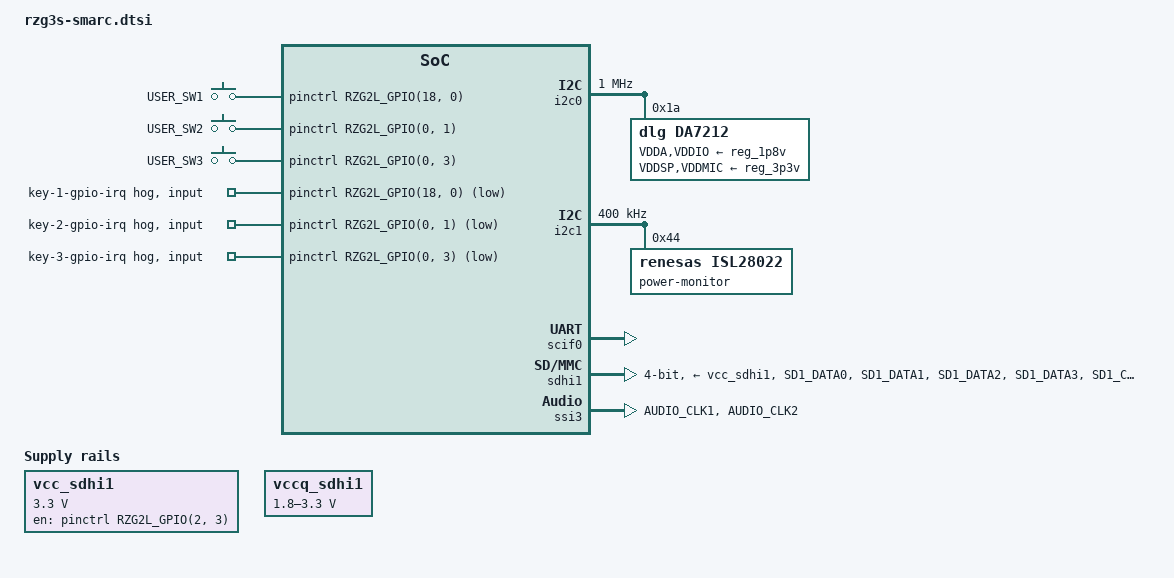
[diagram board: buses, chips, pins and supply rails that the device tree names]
// SPDX-License-Identifier: (GPL-2.0-only OR BSD-2-Clause)
/*
 * Device Tree Source for the RZ SMARC Carrier-II Board.
 *
 * Copyright (C) 2023 Renesas Electronics Corp.
 */

#include <dt-bindings/gpio/gpio.h>
#include <dt-bindings/input/input.h>
#include <dt-bindings/pinctrl/rzg2l-pinctrl.h>

/ {
	aliases {
		i2c0 = &i2c0;
		serial3 = &scif0;
		mmc1 = &sdhi1;
	};

	chosen {
		bootargs = "ignore_loglevel";
		stdout-path = "serial3:115200n8";
	};

	keys {
		compatible = "gpio-keys";

		key-1 {
			interrupts-extended = <&pinctrl RZG2L_GPIO(18, 0) IRQ_TYPE_EDGE_FALLING>;
			linux,code = <KEY_1>;
			label = "USER_SW1";
			wakeup-source;
			debounce-interval = <20>;
		};

		key-2 {
			interrupts-extended = <&pinctrl RZG2L_GPIO(0, 1) IRQ_TYPE_EDGE_FALLING>;
			linux,code = <KEY_2>;
			label = "USER_SW2";
			wakeup-source;
			debounce-interval = <20>;
		};

		key-3 {
			interrupts-extended = <&pinctrl RZG2L_GPIO(0, 3) IRQ_TYPE_EDGE_FALLING>;
			linux,code = <KEY_3>;
			label = "USER_SW3";
			wakeup-source;
			debounce-interval = <20>;
		};
	};

	snd_rzg3s: sound {
		compatible = "simple-audio-card";
		simple-audio-card,format = "i2s";
		simple-audio-card,bitclock-master = <&cpu_dai>;
		simple-audio-card,frame-master = <&cpu_dai>;
		simple-audio-card,mclk-fs = <256>;

		cpu_dai: simple-audio-card,cpu {
			sound-dai = <&ssi3>;
		};

		codec_dai: simple-audio-card,codec {
			sound-dai = <&da7212>;
			clocks = <&versa3 1>;
		};
	};

	vcc_sdhi1: regulator-vcc-sdhi1 {
		compatible = "regulator-fixed";
		regulator-name = "SDHI1 Vcc";
		regulator-min-microvolt = <3300000>;
		regulator-max-microvolt = <3300000>;
		gpios = <&pinctrl RZG2L_GPIO(2, 3) GPIO_ACTIVE_HIGH>;
		enable-active-high;
	};

	vccq_sdhi1: regulator-vccq-sdhi1 {
		compatible = "regulator-gpio";
		regulator-name = "SDHI1 VccQ";
		regulator-min-microvolt = <1800000>;
		regulator-max-microvolt = <3300000>;
		gpios = <&pinctrl RZG2L_GPIO(4, 2) GPIO_ACTIVE_HIGH>;
		gpios-states = <1>;
		states = <3300000 1>, <1800000 0>;
	};
};

&audio_clk2 {
	clock-frequency = <12288000>;
};

&i2c0 {
	status = "okay";

	clock-frequency = <1000000>;

	da7212: codec@1a {
		compatible = "dlg,da7212";
		reg = <0x1a>;

		clocks = <&versa3 1>;
		clock-names = "mclk";

		#sound-dai-cells = <0>;

		dlg,micbias1-lvl = <2500>;
		dlg,micbias2-lvl = <2500>;
		dlg,dmic-data-sel = "lrise_rfall";
		dlg,dmic-samplephase = "between_clkedge";
		dlg,dmic-clkrate = <3000000>;

		VDDA-supply = <&reg_1p8v>;
		VDDSP-supply = <&reg_3p3v>;
		VDDMIC-supply = <&reg_3p3v>;
		VDDIO-supply = <&reg_1p8v>;
	};
};

&i2c1 {
	status = "okay";

	clock-frequency = <400000>;

	power-monitor@44 {
		compatible = "renesas,isl28022";
		reg = <0x44>;
		shunt-resistor-micro-ohms = <8000>;
		renesas,average-samples = <32>;
	};
};

&pinctrl {
	audio_clock_pins: audio-clock {
		pins = "AUDIO_CLK1", "AUDIO_CLK2";
		input-enable;
	};

	key-1-gpio-hog {
		gpio-hog;
		gpios = <RZG2L_GPIO(18, 0) GPIO_ACTIVE_LOW>;
		input;
		line-name = "key-1-gpio-irq";
	};

	key-2-gpio-hog {
		gpio-hog;
		gpios = <RZG2L_GPIO(0, 1) GPIO_ACTIVE_LOW>;
		input;
		line-name = "key-2-gpio-irq";
	};

	key-3-gpio-hog {
		gpio-hog;
		gpios = <RZG2L_GPIO(0, 3) GPIO_ACTIVE_LOW>;
		input;
		line-name = "key-3-gpio-irq";
	};

	scif0_pins: scif0 {
		pinmux = <RZG2L_PORT_PINMUX(6, 3, 1)>, /* RXD */
			 <RZG2L_PORT_PINMUX(6, 4, 1)>; /* TXD */
	};

	sdhi1_pins: sd1 {
		data {
			pins = "SD1_DATA0", "SD1_DATA1", "SD1_DATA2", "SD1_DATA3";
			power-source = <3300>;
		};

		ctrl {
			pins = "SD1_CLK", "SD1_CMD";
			power-source = <3300>;
		};

		cd {
			pinmux = <RZG2L_PORT_PINMUX(0, 2, 1)>; /* SD1_CD */
		};
	};

	sdhi1_pins_uhs: sd1-uhs {
		data {
			pins = "SD1_DATA0", "SD1_DATA1", "SD1_DATA2", "SD1_DATA3";
			power-source = <1800>;
		};

		ctrl {
			pins = "SD1_CLK", "SD1_CMD";
			power-source = <1800>;
		};

		cd {
			pinmux = <RZG2L_PORT_PINMUX(0, 2, 1)>; /* SD1_CD */
		};
	};

	ssi3_pins: ssi3 {
		pinmux = <RZG2L_PORT_PINMUX(18, 2, 8)>, /* BCK */
			 <RZG2L_PORT_PINMUX(18, 3, 8)>, /* RCK */
			 <RZG2L_PORT_PINMUX(18, 4, 8)>, /* TXD */
			 <RZG2L_PORT_PINMUX(18, 5, 8)>; /* RXD */
	};
};

&scif0 {
	pinctrl-names = "default";
	pinctrl-0 = <&scif0_pins>;
	status = "okay";
};

&sdhi1 {
	pinctrl-0 = <&sdhi1_pins>;
	pinctrl-1 = <&sdhi1_pins_uhs>;
	pinctrl-names = "default", "state_uhs";
	vmmc-supply = <&vcc_sdhi1>;
	vqmmc-supply = <&vccq_sdhi1>;
	bus-width = <4>;
	sd-uhs-sdr50;
	sd-uhs-sdr104;
	max-frequency = <125000000>;
	status = "okay";
};

&ssi3 {
	clocks = <&cpg CPG_MOD R9A08G045_SSI3_PCLK2>,
		 <&cpg CPG_MOD R9A08G045_SSI3_PCLK_SFR>,
		 <&versa3 2>, <&audio_clk2>;
	pinctrl-names = "default";
	pinctrl-0 = <&ssi3_pins>, <&audio_clock_pins>;
	status = "okay";
};
